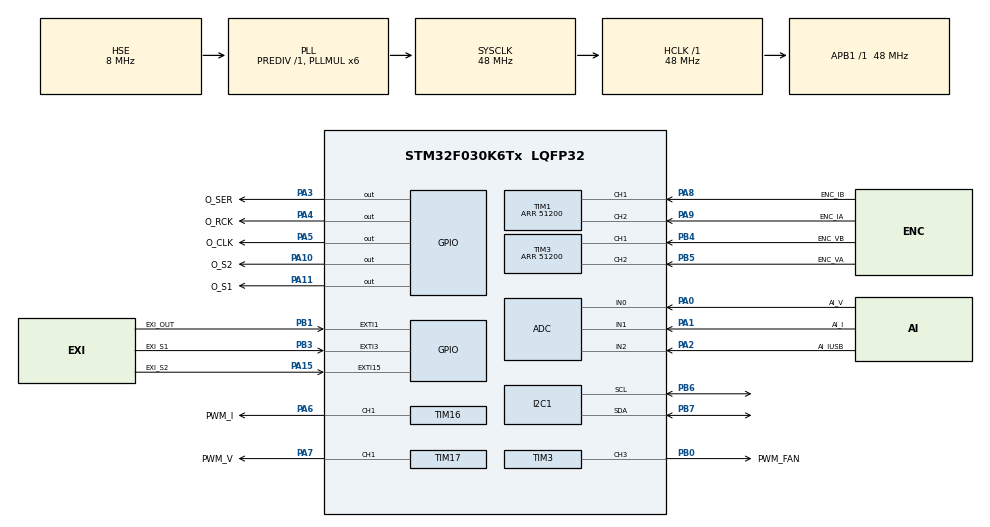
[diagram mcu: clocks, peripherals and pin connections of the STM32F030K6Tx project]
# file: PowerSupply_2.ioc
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ADC.ClockPrescaler=ADC_CLOCK_SYNC_PCLK_DIV4
ADC.ContinuousConvMode=ENABLE
ADC.DMAContinuousRequests=ENABLE
ADC.DiscontinuousConvMode=DISABLE
ADC.EOCSelection=ADC_EOC_SINGLE_CONV
ADC.LowPowerAutoWait=DISABLE
ADC.Overrun=ADC_OVR_DATA_OVERWRITTEN
ADC.SamplingTime=ADC_SAMPLETIME_71CYCLES_5
Dma.ADC.0.Direction=DMA_PERIPH_TO_MEMORY
Dma.ADC.0.Instance=DMA1_Channel1
Dma.ADC.0.MemDataAlignment=DMA_MDATAALIGN_WORD
Dma.ADC.0.MemInc=DMA_MINC_ENABLE
Dma.ADC.0.Mode=DMA_CIRCULAR
Dma.ADC.0.PeriphDataAlignment=DMA_PDATAALIGN_WORD
Dma.ADC.0.PeriphInc=DMA_PINC_DISABLE
Dma.ADC.0.Priority=DMA_PRIORITY_LOW
Dma.Request0=ADC
Mcu.Family=STM32F0
Mcu.Name=STM32F030K6Tx
Mcu.Package=LQFP32
NVIC.DMA1_Channel1_IRQn=true\:3\:0\:true\:false\:true\:false\:true\:true
NVIC.EXTI0_1_IRQn=true\:2\:0\:true\:false\:true\:true\:true\:true
NVIC.EXTI2_3_IRQn=true\:2\:0\:true\:false\:true\:true\:true\:true
NVIC.EXTI4_15_IRQn=true\:2\:0\:true\:false\:true\:true\:true\:true
NVIC.TIM14_IRQn=true\:2\:0\:true\:false\:true\:true\:true\:true
NVIC.TIM1_CC_IRQn=true\:2\:0\:true\:false\:true\:true\:true\:true
NVIC.TIM3_IRQn=true\:2\:0\:true\:false\:true\:true\:true\:true
PA0.GPIO_Label=AI_V
PA0.Mode=IN0
PA0.Signal=ADC_IN0
PA1.GPIO_Label=AI_I
PA1.Mode=IN1
PA1.Signal=ADC_IN1
PA10.GPIO_Label=O_S2
PA10.Signal=GPIO_Output
PA11.GPIO_Label=O_S1
PA11.Signal=GPIO_Output
PA13.Mode=Serial_Wire
PA13.Signal=SYS_SWDIO
PA14.Mode=Serial_Wire
PA14.Signal=SYS_SWCLK
PA15.GPIO_Label=EXI_S2
PA15.GPIO_ModeDefaultEXTI=GPIO_MODE_IT_FALLING
PA15.Signal=GPXTI15
PA2.GPIO_Label=AI_IUSB
PA2.Mode=IN2
PA2.Signal=ADC_IN2
PA3.GPIO_Label=O_SER
PA3.GPIO_Speed=GPIO_SPEED_FREQ_HIGH
PA3.Signal=GPIO_Output
PA4.GPIO_Label=O_RCK
PA4.Signal=GPIO_Output
PA5.GPIO_Label=O_CLK
PA5.GPIO_Speed=GPIO_SPEED_FREQ_HIGH
PA5.Signal=GPIO_Output
PA6.GPIO_Label=PWM_I
PA6.GPIO_Speed=GPIO_SPEED_FREQ_HIGH
PA6.Signal=S_TIM16_CH1
PA7.GPIO_Label=PWM_V
PA7.GPIO_Speed=GPIO_SPEED_FREQ_HIGH
PA7.Signal=S_TIM17_CH1
PA8.GPIO_Label=ENC_IB
PA8.GPIO_ModeDefaultPP=GPIO_MODE_AF_OD
PA8.GPIO_Speed=GPIO_SPEED_FREQ_HIGH
PA8.Signal=S_TIM1_CH1
PA9.GPIO_FMA9=SYSCFG_CFGR1_I2C_FMP_PA9
PA9.GPIO_Label=ENC_IA
PA9.GPIO_ModeDefaultPP=GPIO_MODE_AF_OD
PA9.GPIO_Speed=GPIO_SPEED_FREQ_HIGH
PA9.Signal=S_TIM1_CH2
PB0.GPIO_Label=PWM_FAN
PB0.GPIO_Speed=GPIO_SPEED_FREQ_HIGH
PB0.Signal=S_TIM3_CH3
PB1.GPIO_Label=EXI_OUT
PB1.GPIO_ModeDefaultEXTI=GPIO_MODE_IT_FALLING
PB1.Signal=GPXTI1
PB3.GPIO_Label=EXI_S1
PB3.GPIO_ModeDefaultEXTI=GPIO_MODE_IT_FALLING
PB3.Signal=GPXTI3
PB4.GPIO_Label=ENC_VB
PB4.GPIO_ModeDefaultPP=GPIO_MODE_AF_OD
PB4.GPIO_Speed=GPIO_SPEED_FREQ_HIGH
PB4.Signal=S_TIM3_CH1
PB5.GPIO_Label=ENC_VA
PB5.GPIO_ModeDefaultPP=GPIO_MODE_AF_OD
PB5.GPIO_Speed=GPIO_SPEED_FREQ_HIGH
PB5.Signal=S_TIM3_CH2
PB6.Mode=I2C
PB6.Signal=I2C1_SCL
PB7.Mode=I2C
PB7.Signal=I2C1_SDA
PF0-OSC_IN.Mode=HSE-External-Oscillator
PF0-OSC_IN.Signal=RCC_OSC_IN
PF1-OSC_OUT.Mode=HSE-External-Oscillator
PF1-OSC_OUT.Signal=RCC_OSC_OUT
ProjectManager.HeapSize=0x200
ProjectManager.StackSize=0x400
ProjectManager.TargetToolchain=EWARM V8.32
RCC.AHBFreq_Value=48000000
RCC.APB1Freq_Value=48000000
RCC.APB1TimFreq_Value=48000000
RCC.HCLKFreq_Value=48000000
RCC.PLLMUL=RCC_PLL_MUL6
RCC.PLLSourceVirtual=RCC_PLLSOURCE_HSE
RCC.SYSCLKFreq_VALUE=48000000
RCC.SYSCLKSource=RCC_SYSCLKSOURCE_PLLCLK
SH.S_TIM16_CH1.0=TIM16_CH1,PWM Generation1 CH1
SH.S_TIM17_CH1.0=TIM17_CH1,PWM Generation1 CH1
SH.S_TIM1_CH1.0=TIM1_CH1,Encoder_Interface
SH.S_TIM1_CH2.0=TIM1_CH2,Encoder_Interface
SH.S_TIM3_CH1.0=TIM3_CH1,Encoder_Interface
SH.S_TIM3_CH2.0=TIM3_CH2,Encoder_Interface
SH.S_TIM3_CH3.0=TIM3_CH3,PWM Generation3 CH3
TIM1.CounterMode=TIM_COUNTERMODE_UP
TIM1.EncoderMode=TIM_ENCODERMODE_TI12
TIM1.IC1Filter=10
TIM1.IC1Polarity=TIM_ICPOLARITY_RISING
TIM1.IC1Prescaler=TIM_ICPSC_DIV1
TIM1.IC2Polarity=TIM_ICPOLARITY_RISING
TIM1.IC2Prescaler=TIM_ICPSC_DIV1
TIM1.Period=51200
TIM14.Period=10000
TIM14.Prescaler=0
TIM16.Channel=TIM_CHANNEL_1
TIM16.Period=6400
TIM17.Channel=TIM_CHANNEL_1
TIM17.Period=6400
TIM3.Channel-PWM\ Generation3\ CH3=TIM_CHANNEL_3
TIM3.CounterMode=TIM_COUNTERMODE_UP
TIM3.EncoderMode=TIM_ENCODERMODE_TI12
TIM3.IC1Filter=10
TIM3.IC1Polarity=TIM_ICPOLARITY_RISING
TIM3.IC1Prescaler=TIM_ICPSC_DIV1
TIM3.IC2Polarity=TIM_ICPOLARITY_RISING
TIM3.IC2Prescaler=TIM_ICPSC_DIV1
TIM3.Period=51200
VP_TIM14_VS_ClockSourceINT.Mode=Enable_Timer
VP_TIM16_VS_ClockSourceINT.Mode=Enable_Timer
VP_TIM17_VS_ClockSourceINT.Mode=Enable_Timer
board=custom

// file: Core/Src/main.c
/* USER CODE BEGIN Header */
/**
  ******************************************************************************
  * @file           : main.c
  * @brief          : Main program body
  ******************************************************************************
  * @attention
  *
  * Copyright (c) 2022 STMicroelectronics.
  * All rights reserved.
  *
  * This software is licensed under terms that can be found in the LICENSE file
  * in the root directory of this software component.
  * If no LICENSE file comes with this software, it is provided AS-IS.
  *
  ******************************************************************************
  */
/* USER CODE END Header */
#include "main.h"

/* USER CODE BEGIN Includes */
#include <stdio.h>
#include <stdlib.h>

#include "PID.h"
/* USER CODE END Includes */

ADC_HandleTypeDef hadc;
DMA_HandleTypeDef hdma_adc;

I2C_HandleTypeDef hi2c1;

TIM_HandleTypeDef htim1;
TIM_HandleTypeDef htim3;
TIM_HandleTypeDef htim14;
TIM_HandleTypeDef htim16;
TIM_HandleTypeDef htim17;

/* USER CODE BEGIN PV */
uint32_t AData[3];
uint16_t iLED = 0;
uint8_t LED_Data [LED_Num] = {0};
uint8_t iSelEXI = 0;
uint8_t EXIS1PrePrs [9] = {0};
uint8_t EXIS2PrePrs [9] = {0};
uint8_t EXIS1PrvPrs [4] = {0};
uint8_t EXIS2PrvPrs [4] = {0};
uint16_t iEXIS1Prs [5] = {0,0,0,0};
uint16_t iPrsEXIS2 [5] = {0,0,0,0};
//uint16_t iKepEXI = 1000;
//uint16_t iClkEXI = 100;

uint16_t indx = 0;

uint16_t Disp3s = 30;

//uint16_t MaxSamEncTime = 30;

uint8_t LowByte = 0;
uint8_t HighByte = 0;
uint8_t dL = 0;
uint8_t dH = 0;
uint8_t cL = 0;
uint8_t cH = 0;

//uint16_t Knew = 0;
//uint16_t Kold = 0;
uint16_t VoltBstKnew = 30;
uint16_t VoltBstKold = 70;
uint16_t CurrBstKnew = 30;
uint16_t CurrBstKold = 70;

uint16_t MaxFIR = 200;
uint16_t iMaxFIR = 0;

uint8_t PIDEn = 0;
//float error = 0;
uint16_t MaxCountPID = 5000;
uint8_t InitFlag = 0;
uint8_t FirsRead = 0;
uint16_t InitCount = 0;
uint16_t MaxInitCount = 3000;
uint16_t TempVolt = 0;
//int32_t MAXSumError = 50000000;

uint16_t ErrStp1 = 5000;
float Kp1 = 0.1;
float Ki1 = 0.4;
float Kd1 = 0.01;
float Tau1 = 0.01;

float Kp2 = .1;
float Ki2 = .4;
float Kd2 = 6;
float Tau2 = 6;

uint16_t CurrErrStp1 = 500;
uint16_t CurrErrStp2 = 4000;
float CurrKp1 = 0.05;
float CurrKi1 = 0.3;
float CurrKd1 = 0.1;
float CurrTau1 = 0.01;

float CurrKp2 = .2;
float CurrKi2 = 1;
float CurrKd2 = 2;
float CurrTau2 = 3;

uint8_t VOLT2ENC = 12;

int16_t MaxEncSpeed = 20;
int16_t MaxEncInc = 1200;
//int16_t MinEncSpeed = 4;

uint32_t ArrNumFIFO = 0;
uint32_t MaxArrNumFIFO = 300;

uint16_t AFIFO [3][300] = {0};
//uint16_t ArrNumMeanFIFO = 1000;
//uint16_t MeanFIFO [3][100] = {0};
uint32_t SumFIFO [3] = {0,0,0};                       // Array sum of ADC values
uint32_t iFilADC = 0;

#if (IF_VOLTTest | IF_CURRTest)
uint16_t iTriInd = 0;
uint16_t ITriIndMax = 1;
int16_t iTriangle = 0;
uint16_t iTriMax = 6400;
uint16_t Ramp = 1;
uint16_t TriVolStep = 4;
#endif

#if IF_VOLTPIDTunning
uint16_t VOLTENCSTP1 = 8000;
uint16_t VOLTENCSTP2 = 40000;
uint16_t MaxiPIDSwitch = 2000;
#endif

#if IF_CURRPIDTunning
uint16_t CURRENCSTP1 = 4000;
uint16_t CURRENCSTP2 = 8000;
uint16_t MaxiPIDSwitch = 2000;
#endif

enum
{
  Nor,
  OC,
  NoMem,
  M1,
  M2,
  M3,
  M4
};

//PIDController pid;

Monitor Volt, Curr;
MonitorUSB USBCurr;
/* USER CODE END PV */

void SystemClock_Config(void);
static void MX_GPIO_Init(void);
static void MX_DMA_Init(void);
static void MX_ADC_Init(void);
static void MX_TIM1_Init(void);
static void MX_TIM3_Init(void);
static void MX_TIM16_Init(void);
static void MX_I2C1_Init(void);
static void MX_TIM14_Init(void);
static void MX_TIM17_Init(void);
/* USER CODE BEGIN PFP */
uint16_t* SevSegm (uint8_t Num);
void Mon4Seg (uint16_t volt, uint8_t Loc);
void Delay (void);
/* USER CODE END PFP */

int main(void)
{

  /* MCU Configuration--------------------------------------------------------*/

  /* Reset of all peripherals, Initializes the Flash interface and the Systick. */
  HAL_Init();

  /* Configure the system clock */
  SystemClock_Config();

  /* Initialize all configured peripherals */
  MX_GPIO_Init();
  MX_DMA_Init();
  MX_ADC_Init();
  MX_TIM1_Init();
  MX_TIM3_Init();
  MX_TIM16_Init();
  MX_I2C1_Init();
  MX_TIM14_Init();
  MX_TIM17_Init();
  /* USER CODE BEGIN 2 */
//  Knew = BstKnew;
//  Kold = BstKnew;
#if IF_CURRTest
uint16_t iTriMax = HTIM_PWM_CURR.Init.Period;
#endif

#if IF_VOLTTest
uint16_t iTriMax = HTIM_PWM_VOL.Init.Period;
#endif

  Volt.pid.Kp = 0.1;
  Volt.pid.Ki = 0.2;
  Volt.pid.Kd = 0.2;
  Volt.pid.tau = 0.01;
  Volt.pid.limMax = HTIM_PWM_VOL.Init.Period;
  Volt.pid.limMin = 0;
  Volt.pid.limMaxInt = 50000;
  Volt.pid.limMinInt = -50000;
  Volt.pid.T = 0.000225;

  Curr.pid.Kp = 0.1;
  Curr.pid.Ki = 0.2;
  Curr.pid.Kd = 0.2;
  Curr.pid.tau = 0.01;
  Curr.pid.limMax = HTIM_PWM_CURR.Init.Period;
  Curr.pid.limMin = 0;
  Curr.pid.limMaxInt = 50000;
  Curr.pid.limMinInt = -50000;
  Curr.pid.T = 0.000225;

  Volt.MaxVolt = VoltMAX;
  Curr.MaxVolt = CurrMAX;
  Volt.EncFactor = HTIM_ENC_VOL.Init.Period / HTIM_PWM_VOL.Init.Period;
  Curr.EncFactor = HTIM_ENC_CURR.Init.Period / HTIM_PWM_CURR.Init.Period;
  Volt.KDspnew = 30;
  Volt.KDspold = 70;
  Curr.KDspnew = 30;
  Curr.KDspold = 70;
  Volt.DispFactor0 = - 15.69;
  Volt.DispFactor1 = 0.8464;
  Curr.DispFactor0 = -331.9;
  Curr.DispFactor1 = 1.38;
  USBCurr.DispFactor1 = 1;
  Curr.Enc = 4000;
  __HAL_TIM_SET_COMPARE(&HTIM_PWM_CURR, TIM_CHANNEL_1, Curr.Enc / Curr.EncFactor);

  HAL_TIM_Encoder_Start_IT(&HTIM_ENC_CURR, TIM_CHANNEL_ALL);    // Encoder Current PWM
  HAL_TIM_Encoder_Start_IT(&HTIM_ENC_VOL, TIM_CHANNEL_ALL);    // Encoder Voltage PWM

//  HAL_TIM_PWM_Start(&HTIM_ENC_VOL, TIM_CHANNEL_3);     // Fan PWM
  HAL_TIM_PWM_Start(&HTIM_PWM_CURR, TIM_CHANNEL_1);    // Current PWM
  HAL_TIM_PWM_Start(&HTIM_PWM_VOL, TIM_CHANNEL_1);    // Voltage PWM

  HAL_TIM_Base_Start_IT(&htim14);

  HAL_ADCEx_Calibration_Start(&hadc);
  HAL_ADC_Start_DMA(&hadc, (uint32_t*)AData, 3);

  PIDController_Init(&Volt.pid);

  /* USER CODE END 2 */

  /* Infinite loop */
  while (1)
  {

  }
}

void SystemClock_Config(void)
{
  RCC_OscInitTypeDef RCC_OscInitStruct = {0};
  RCC_ClkInitTypeDef RCC_ClkInitStruct = {0};
  RCC_PeriphCLKInitTypeDef PeriphClkInit = {0};

  /** Initializes the RCC Oscillators according to the specified parameters
  * in the RCC_OscInitTypeDef structure.
  */
  RCC_OscInitStruct.OscillatorType = RCC_OSCILLATORTYPE_HSI|RCC_OSCILLATORTYPE_HSE;
  RCC_OscInitStruct.HSEState = RCC_HSE_ON;
  RCC_OscInitStruct.HSIState = RCC_HSI_ON;
  RCC_OscInitStruct.HSICalibrationValue = RCC_HSICALIBRATION_DEFAULT;
  RCC_OscInitStruct.PLL.PLLState = RCC_PLL_ON;
  RCC_OscInitStruct.PLL.PLLSource = RCC_PLLSOURCE_HSE;
  RCC_OscInitStruct.PLL.PLLMUL = RCC_PLL_MUL6;
  RCC_OscInitStruct.PLL.PREDIV = RCC_PREDIV_DIV1;
  if (HAL_RCC_OscConfig(&RCC_OscInitStruct) != HAL_OK)
  {
    Error_Handler();
  }

  /** Initializes the CPU, AHB and APB buses clocks
  */
  RCC_ClkInitStruct.ClockType = RCC_CLOCKTYPE_HCLK|RCC_CLOCKTYPE_SYSCLK
                              |RCC_CLOCKTYPE_PCLK1;
  RCC_ClkInitStruct.SYSCLKSource = RCC_SYSCLKSOURCE_PLLCLK;
  RCC_ClkInitStruct.AHBCLKDivider = RCC_SYSCLK_DIV1;
  RCC_ClkInitStruct.APB1CLKDivider = RCC_HCLK_DIV1;

  if (HAL_RCC_ClockConfig(&RCC_ClkInitStruct, FLASH_LATENCY_1) != HAL_OK)
  {
    Error_Handler();
  }
  PeriphClkInit.PeriphClockSelection = RCC_PERIPHCLK_I2C1;
  PeriphClkInit.I2c1ClockSelection = RCC_I2C1CLKSOURCE_HSI;
  if (HAL_RCCEx_PeriphCLKConfig(&PeriphClkInit) != HAL_OK)
  {
    Error_Handler();
  }
}

static void MX_ADC_Init(void)
{

  ADC_ChannelConfTypeDef sConfig = {0};

  /** Configure the global features of the ADC (Clock, Resolution, Data Alignment and number of conversion)
  */
  hadc.Instance = ADC1;
  hadc.Init.ClockPrescaler = ADC_CLOCK_SYNC_PCLK_DIV4;
  hadc.Init.Resolution = ADC_RESOLUTION_12B;
  hadc.Init.DataAlign = ADC_DATAALIGN_RIGHT;
  hadc.Init.ScanConvMode = ADC_SCAN_DIRECTION_FORWARD;
  hadc.Init.EOCSelection = ADC_EOC_SINGLE_CONV;
  hadc.Init.LowPowerAutoWait = DISABLE;
  hadc.Init.LowPowerAutoPowerOff = DISABLE;
  hadc.Init.ContinuousConvMode = ENABLE;
  hadc.Init.DiscontinuousConvMode = DISABLE;
  hadc.Init.ExternalTrigConv = ADC_SOFTWARE_START;
  hadc.Init.ExternalTrigConvEdge = ADC_EXTERNALTRIGCONVEDGE_NONE;
  hadc.Init.DMAContinuousRequests = ENABLE;
  hadc.Init.Overrun = ADC_OVR_DATA_OVERWRITTEN;
  if (HAL_ADC_Init(&hadc) != HAL_OK)
  {
    Error_Handler();
  }

  /** Configure for the selected ADC regular channel to be converted.
  */
  sConfig.Channel = ADC_CHANNEL_0;
  sConfig.Rank = ADC_RANK_CHANNEL_NUMBER;
  sConfig.SamplingTime = ADC_SAMPLETIME_71CYCLES_5;
  if (HAL_ADC_ConfigChannel(&hadc, &sConfig) != HAL_OK)
  {
    Error_Handler();
  }

  /** Configure for the selected ADC regular channel to be converted.
  */
  sConfig.Channel = ADC_CHANNEL_1;
  if (HAL_ADC_ConfigChannel(&hadc, &sConfig) != HAL_OK)
  {
    Error_Handler();
  }

  /** Configure for the selected ADC regular channel to be converted.
  */
  sConfig.Channel = ADC_CHANNEL_2;
  if (HAL_ADC_ConfigChannel(&hadc, &sConfig) != HAL_OK)
  {
    Error_Handler();
  }

}

static void MX_I2C1_Init(void)
{

  hi2c1.Instance = I2C1;
  hi2c1.Init.Timing = 0x2000090E;
  hi2c1.Init.OwnAddress1 = 0;
  hi2c1.Init.AddressingMode = I2C_ADDRESSINGMODE_7BIT;
  hi2c1.Init.DualAddressMode = I2C_DUALADDRESS_DISABLE;
  hi2c1.Init.OwnAddress2 = 0;
  hi2c1.Init.OwnAddress2Masks = I2C_OA2_NOMASK;
  hi2c1.Init.GeneralCallMode = I2C_GENERALCALL_DISABLE;
  hi2c1.Init.NoStretchMode = I2C_NOSTRETCH_DISABLE;
  if (HAL_I2C_Init(&hi2c1) != HAL_OK)
  {
    Error_Handler();
  }

  /** Configure Analogue filter
  */
  if (HAL_I2CEx_ConfigAnalogFilter(&hi2c1, I2C_ANALOGFILTER_ENABLE) != HAL_OK)
  {
    Error_Handler();
  }

  /** Configure Digital filter
  */
  if (HAL_I2CEx_ConfigDigitalFilter(&hi2c1, 0) != HAL_OK)
  {
    Error_Handler();
  }

}

static void MX_TIM1_Init(void)
{

  TIM_Encoder_InitTypeDef sConfig = {0};
  TIM_MasterConfigTypeDef sMasterConfig = {0};

  htim1.Instance = TIM1;
  htim1.Init.Prescaler = 0;
  htim1.Init.CounterMode = TIM_COUNTERMODE_UP;
  htim1.Init.Period = 51200;
  htim1.Init.ClockDivision = TIM_CLOCKDIVISION_DIV1;
  htim1.Init.RepetitionCounter = 0;
  htim1.Init.AutoReloadPreload = TIM_AUTORELOAD_PRELOAD_DISABLE;
  sConfig.EncoderMode = TIM_ENCODERMODE_TI12;
  sConfig.IC1Polarity = TIM_ICPOLARITY_RISING;
  sConfig.IC1Selection = TIM_ICSELECTION_DIRECTTI;
  sConfig.IC1Prescaler = TIM_ICPSC_DIV1;
  sConfig.IC1Filter = 10;
  sConfig.IC2Polarity = TIM_ICPOLARITY_RISING;
  sConfig.IC2Selection = TIM_ICSELECTION_DIRECTTI;
  sConfig.IC2Prescaler = TIM_ICPSC_DIV1;
  sConfig.IC2Filter = 0;
  if (HAL_TIM_Encoder_Init(&htim1, &sConfig) != HAL_OK)
  {
    Error_Handler();
  }
  sMasterConfig.MasterOutputTrigger = TIM_TRGO_RESET;
  sMasterConfig.MasterSlaveMode = TIM_MASTERSLAVEMODE_DISABLE;
  if (HAL_TIMEx_MasterConfigSynchronization(&htim1, &sMasterConfig) != HAL_OK)
  {
    Error_Handler();
  }

}

static void MX_TIM3_Init(void)
{

  TIM_Encoder_InitTypeDef sConfig = {0};
  TIM_MasterConfigTypeDef sMasterConfig = {0};
  TIM_OC_InitTypeDef sConfigOC = {0};

  htim3.Instance = TIM3;
  htim3.Init.Prescaler = 0;
  htim3.Init.CounterMode = TIM_COUNTERMODE_UP;
  htim3.Init.Period = 51200;
  htim3.Init.ClockDivision = TIM_CLOCKDIVISION_DIV1;
  htim3.Init.AutoReloadPreload = TIM_AUTORELOAD_PRELOAD_DISABLE;
  if (HAL_TIM_PWM_Init(&htim3) != HAL_OK)
  {
    Error_Handler();
  }
  sConfig.EncoderMode = TIM_ENCODERMODE_TI12;
  sConfig.IC1Polarity = TIM_ICPOLARITY_RISING;
  sConfig.IC1Selection = TIM_ICSELECTION_DIRECTTI;
  sConfig.IC1Prescaler = TIM_ICPSC_DIV1;
  sConfig.IC1Filter = 10;
  sConfig.IC2Polarity = TIM_ICPOLARITY_RISING;
  sConfig.IC2Selection = TIM_ICSELECTION_DIRECTTI;
  sConfig.IC2Prescaler = TIM_ICPSC_DIV1;
  sConfig.IC2Filter = 0;
  if (HAL_TIM_Encoder_Init(&htim3, &sConfig) != HAL_OK)
  {
    Error_Handler();
  }
  sMasterConfig.MasterOutputTrigger = TIM_TRGO_RESET;
  sMasterConfig.MasterSlaveMode = TIM_MASTERSLAVEMODE_DISABLE;
  if (HAL_TIMEx_MasterConfigSynchronization(&htim3, &sMasterConfig) != HAL_OK)
  {
    Error_Handler();
  }
  sConfigOC.OCMode = TIM_OCMODE_PWM1;
  sConfigOC.Pulse = 0;
  sConfigOC.OCPolarity = TIM_OCPOLARITY_HIGH;
  sConfigOC.OCFastMode = TIM_OCFAST_DISABLE;
  if (HAL_TIM_PWM_ConfigChannel(&htim3, &sConfigOC, TIM_CHANNEL_3) != HAL_OK)
  {
    Error_Handler();
  }
  HAL_TIM_MspPostInit(&htim3);

}

static void MX_TIM14_Init(void)
{

  htim14.Instance = TIM14;
  htim14.Init.Prescaler = 0;
  htim14.Init.CounterMode = TIM_COUNTERMODE_UP;
  htim14.Init.Period = 10000;
  htim14.Init.ClockDivision = TIM_CLOCKDIVISION_DIV1;
  htim14.Init.AutoReloadPreload = TIM_AUTORELOAD_PRELOAD_DISABLE;
  if (HAL_TIM_Base_Init(&htim14) != HAL_OK)
  {
    Error_Handler();
  }

}

static void MX_TIM16_Init(void)
{

  TIM_OC_InitTypeDef sConfigOC = {0};
  TIM_BreakDeadTimeConfigTypeDef sBreakDeadTimeConfig = {0};

  htim16.Instance = TIM16;
  htim16.Init.Prescaler = 0;
  htim16.Init.CounterMode = TIM_COUNTERMODE_UP;
  htim16.Init.Period = 6400;
  htim16.Init.ClockDivision = TIM_CLOCKDIVISION_DIV1;
  htim16.Init.RepetitionCounter = 0;
  htim16.Init.AutoReloadPreload = TIM_AUTORELOAD_PRELOAD_DISABLE;
  if (HAL_TIM_Base_Init(&htim16) != HAL_OK)
  {
    Error_Handler();
  }
  if (HAL_TIM_PWM_Init(&htim16) != HAL_OK)
  {
    Error_Handler();
  }
  sConfigOC.OCMode = TIM_OCMODE_PWM1;
  sConfigOC.Pulse = 0;
  sConfigOC.OCPolarity = TIM_OCPOLARITY_HIGH;
  sConfigOC.OCNPolarity = TIM_OCNPOLARITY_HIGH;
  sConfigOC.OCFastMode = TIM_OCFAST_DISABLE;
  sConfigOC.OCIdleState = TIM_OCIDLESTATE_RESET;
  sConfigOC.OCNIdleState = TIM_OCNIDLESTATE_RESET;
  if (HAL_TIM_PWM_ConfigChannel(&htim16, &sConfigOC, TIM_CHANNEL_1) != HAL_OK)
  {
    Error_Handler();
  }
  sBreakDeadTimeConfig.OffStateRunMode = TIM_OSSR_DISABLE;
  sBreakDeadTimeConfig.OffStateIDLEMode = TIM_OSSI_DISABLE;
  sBreakDeadTimeConfig.LockLevel = TIM_LOCKLEVEL_OFF;
  sBreakDeadTimeConfig.DeadTime = 0;
  sBreakDeadTimeConfig.BreakState = TIM_BREAK_DISABLE;
  sBreakDeadTimeConfig.BreakPolarity = TIM_BREAKPOLARITY_HIGH;
  sBreakDeadTimeConfig.AutomaticOutput = TIM_AUTOMATICOUTPUT_DISABLE;
  if (HAL_TIMEx_ConfigBreakDeadTime(&htim16, &sBreakDeadTimeConfig) != HAL_OK)
  {
    Error_Handler();
  }
  HAL_TIM_MspPostInit(&htim16);

}

static void MX_TIM17_Init(void)
{

  TIM_OC_InitTypeDef sConfigOC = {0};
  TIM_BreakDeadTimeConfigTypeDef sBreakDeadTimeConfig = {0};

  htim17.Instance = TIM17;
  htim17.Init.Prescaler = 0;
  htim17.Init.CounterMode = TIM_COUNTERMODE_UP;
  htim17.Init.Period = 6400;
  htim17.Init.ClockDivision = TIM_CLOCKDIVISION_DIV1;
  htim17.Init.RepetitionCounter = 0;
  htim17.Init.AutoReloadPreload = TIM_AUTORELOAD_PRELOAD_DISABLE;
  if (HAL_TIM_Base_Init(&htim17) != HAL_OK)
  {
    Error_Handler();
  }
  if (HAL_TIM_PWM_Init(&htim17) != HAL_OK)
  {
    Error_Handler();
  }
  sConfigOC.OCMode = TIM_OCMODE_PWM1;
  sConfigOC.Pulse = 0;
  sConfigOC.OCPolarity = TIM_OCPOLARITY_HIGH;
  sConfigOC.OCNPolarity = TIM_OCNPOLARITY_HIGH;
  sConfigOC.OCFastMode = TIM_OCFAST_DISABLE;
  sConfigOC.OCIdleState = TIM_OCIDLESTATE_RESET;
  sConfigOC.OCNIdleState = TIM_OCNIDLESTATE_RESET;
  if (HAL_TIM_PWM_ConfigChannel(&htim17, &sConfigOC, TIM_CHANNEL_1) != HAL_OK)
  {
    Error_Handler();
  }
  sBreakDeadTimeConfig.OffStateRunMode = TIM_OSSR_DISABLE;
  sBreakDeadTimeConfig.OffStateIDLEMode = TIM_OSSI_DISABLE;
  sBreakDeadTimeConfig.LockLevel = TIM_LOCKLEVEL_OFF;
  sBreakDeadTimeConfig.DeadTime = 0;
  sBreakDeadTimeConfig.BreakState = TIM_BREAK_DISABLE;
  sBreakDeadTimeConfig.BreakPolarity = TIM_BREAKPOLARITY_HIGH;
  sBreakDeadTimeConfig.AutomaticOutput = TIM_AUTOMATICOUTPUT_DISABLE;
  if (HAL_TIMEx_ConfigBreakDeadTime(&htim17, &sBreakDeadTimeConfig) != HAL_OK)
  {
    Error_Handler();
  }
  HAL_TIM_MspPostInit(&htim17);

}

static void MX_DMA_Init(void)
{

  /* DMA controller clock enable */
  __HAL_RCC_DMA1_CLK_ENABLE();

  /* DMA interrupt init */
  /* DMA1_Channel1_IRQn interrupt configuration */
  HAL_NVIC_SetPriority(DMA1_Channel1_IRQn, 3, 0);
  HAL_NVIC_EnableIRQ(DMA1_Channel1_IRQn);

}

static void MX_GPIO_Init(void)
{
  GPIO_InitTypeDef GPIO_InitStruct = {0};

  /* GPIO Ports Clock Enable */
  __HAL_RCC_GPIOF_CLK_ENABLE();
  __HAL_RCC_GPIOA_CLK_ENABLE();
  __HAL_RCC_GPIOB_CLK_ENABLE();

  /*Configure GPIO pin Output Level */
  HAL_GPIO_WritePin(GPIOA, O_SER_Pin|O_RCK_Pin|O_CLK_Pin|O_S2_Pin
                          |O_S1_Pin, GPIO_PIN_RESET);

  /*Configure GPIO pins : O_SER_Pin O_CLK_Pin */
  GPIO_InitStruct.Pin = O_SER_Pin|O_CLK_Pin;
  GPIO_InitStruct.Mode = GPIO_MODE_OUTPUT_PP;
  GPIO_InitStruct.Pull = GPIO_NOPULL;
  GPIO_InitStruct.Speed = GPIO_SPEED_FREQ_HIGH;
  HAL_GPIO_Init(GPIOA, &GPIO_InitStruct);

  /*Configure GPIO pins : O_RCK_Pin O_S2_Pin O_S1_Pin */
  GPIO_InitStruct.Pin = O_RCK_Pin|O_S2_Pin|O_S1_Pin;
  GPIO_InitStruct.Mode = GPIO_MODE_OUTPUT_PP;
  GPIO_InitStruct.Pull = GPIO_NOPULL;
  GPIO_InitStruct.Speed = GPIO_SPEED_FREQ_LOW;
  HAL_GPIO_Init(GPIOA, &GPIO_InitStruct);

  /*Configure GPIO pins : EXI_OUT_Pin EXI_S1_Pin */
  GPIO_InitStruct.Pin = EXI_OUT_Pin|EXI_S1_Pin;
  GPIO_InitStruct.Mode = GPIO_MODE_IT_FALLING;
  GPIO_InitStruct.Pull = GPIO_NOPULL;
  HAL_GPIO_Init(GPIOB, &GPIO_InitStruct);

  /*Configure GPIO pin : EXI_S2_Pin */
  GPIO_InitStruct.Pin = EXI_S2_Pin;
  GPIO_InitStruct.Mode = GPIO_MODE_IT_FALLING;
  GPIO_InitStruct.Pull = GPIO_NOPULL;
  HAL_GPIO_Init(EXI_S2_GPIO_Port, &GPIO_InitStruct);

  /* EXTI interrupt init*/
  HAL_NVIC_SetPriority(EXTI0_1_IRQn, 2, 0);
  HAL_NVIC_EnableIRQ(EXTI0_1_IRQn);

  HAL_NVIC_SetPriority(EXTI2_3_IRQn, 2, 0);
  HAL_NVIC_EnableIRQ(EXTI2_3_IRQn);

  HAL_NVIC_SetPriority(EXTI4_15_IRQn, 2, 0);
  HAL_NVIC_EnableIRQ(EXTI4_15_IRQn);

}

/* USER CODE BEGIN 4 */

/**
  * @brief Delay
  * @param void
  * @retval void
  */
void Delay (void)
{
  for (uint16_t iDelay = 0; iDelay <= 10000; iDelay ++)
  {}
}

/**
  * @brief Get Number in input and convert it into 8 buffer to Display in 7segment.
  * @param Num  Number from 0 to 9.
  * @retval 8 buffer.
  */
uint16_t* SevSegm (uint8_t Num)
{
  static uint16_t Buf [8];
  switch (Num)
  {
  case 0:                       // Number '0'
          Buf [0] = 0;
          Buf [1] = 1;
          Buf [2] = 1;
          Buf [3] = 1;
          Buf [4] = 1;
          Buf [5] = 1;
          Buf [6] = 1;
          Buf [7] = 0;
          break;
  case 1:                       // Number '1'
          Buf [0] = 0;
          Buf [1] = 0;
          Buf [2] = 0;
          Buf [3] = 0;
          Buf [4] = 0;
          Buf [5] = 1;
          Buf [6] = 1;
          Buf [7] = 0;
          break;
  case 2:                       // Number '2'
          Buf [0] = 1;
          Buf [1] = 1;
          Buf [2] = 0;
          Buf [3] = 1;
          Buf [4] = 1;
          Buf [5] = 0;
          Buf [6] = 1;
          Buf [7] = 0;
          break;
  case 3:                       // Number '3'
          Buf [0] = 1;
          Buf [1] = 0;
          Buf [2] = 0;
          Buf [3] = 1;
          Buf [4] = 1;
          Buf [5] = 1;
          Buf [6] = 1;
          Buf [7] = 0;
          break;
  case 4:                       // Number '4'
          Buf [0] = 1;
          Buf [1] = 0;
          Buf [2] = 1;
          Buf [3] = 0;
          Buf [4] = 0;
          Buf [5] = 1;
          Buf [6] = 1;
          Buf [7] = 0;
          break;
  case 5:                       // Number '5'
          Buf [0] = 1;
          Buf [1] = 0;
          Buf [2] = 1;
          Buf [3] = 1;
          Buf [4] = 1;
          Buf [5] = 1;
          Buf [6] = 0;
          Buf [7] = 0;
          break;
  case 6:                       // Number '6'
          Buf [0] = 1;
          Buf [1] = 1;
          Buf [2] = 1;
          Buf [3] = 1;
          Buf [4] = 1;
          Buf [5] = 1;
          Buf [6] = 0;
          Buf [7] = 0;
          break;
  case 7:                       // Number '7'
          Buf [0] = 0;
          Buf [1] = 0;
          Buf [2] = 0;
          Buf [3] = 0;
          Buf [4] = 1;
          Buf [5] = 1;
          Buf [6] = 1;
          Buf [7] = 0;
          break;
  case 8:                       // Number '8'
          Buf [0] = 1;
          Buf [1] = 1;
          Buf [2] = 1;
          Buf [3] = 1;
          Buf [4] = 1;
          Buf [5] = 1;
          Buf [6] = 1;
          Buf [7] = 0;
          break;
  case 9:                       // Number '9'
          Buf [0] = 1;
          Buf [1] = 0;
          Buf [2] = 1;
          Buf [3] = 1;
          Buf [4] = 1;
          Buf [5] = 1;
          Buf [6] = 1;
          Buf [7] = 0;
          break;
  }
  return Buf;
}

/**
  * @brief Get Number in input and locate it into LED_Data array.
  * @param volt  Number from 0 to 9999 that in display devide in 100.
  * @param Loc  Location in LED_Data to put volt array
  * @retval None.
  */
void Mon4Seg (uint16_t volt, uint8_t Loc)
{
  uint8_t Integer = volt / 100;         // Quotient of divide in 100
  if ((Integer <= 9) & (Loc == VolLoc))                     // Locate Quotient in LED_Data and remove zero before one digit numbers
  {
    uint16_t *pBuf = SevSegm (Integer);
    for (uint8_t iInteger = 0; iInteger < 8; iInteger ++)
    {
      LED_Data [Loc + iInteger] = 0;
      LED_Data [Loc + 8 + iInteger] = *(pBuf + iInteger);
    }
  }
  else                                  // Locate Quotient in LED_Data
  {
    uint16_t * pBuf1 = SevSegm(Integer / 10);
    for (uint8_t iInteger = 0; iInteger < 8; iInteger ++)
    {
      LED_Data [Loc + iInteger] = *(pBuf1 + iInteger);
    }
    uint16_t * pBuf2 = SevSegm(Integer % 10);
    for (uint8_t iInteger = 0; iInteger < 8; iInteger ++)
    {
      LED_Data [Loc + 8 + iInteger] = *(pBuf2 + iInteger);
    }
  }

//  LED_Data [Loc + 15] = 1;              // Point
  uint8_t Frac = volt % 100;            // Remainder of divide in 100

  uint16_t * pBuf1 = SevSegm(Frac / 10);
  for (uint8_t iFrac = 0; iFrac < 8; iFrac ++)
  {
    LED_Data [Loc + 16 + iFrac] = *(pBuf1 + iFrac);
  }
  uint16_t * pBuf2 = SevSegm(Frac % 10);
  for (uint8_t iFrac = 0; iFrac < 8; iFrac ++)
  {
    LED_Data [Loc + 24 + iFrac] = *(pBuf2 + iFrac);
  }
}

/**
  * @brief Get Number in input and locate it into LED_Data array.
  * @param volt  Number from 0 to 99 that in display devide in 10.
  * @retval None.
  */
void Mon2Seg (uint16_t volt)
{
  for (uint8_t i = 0; i <= 1; i ++)
  {
    uint16_t *pBuf = SevSegm (volt / 10);
    for (uint8_t i2disp = 0; i2disp < 8; i2disp ++)     // Locate Remainder in LED_Data
    {
      LED_Data [64 + i2disp] = *(pBuf + i2disp);
    }
    LED_Data [71] = 1;
    uint16_t *pBuf2 = SevSegm (volt % 10);                   // Locate Quotient in LED_Data
    for (uint8_t i2disp = 0; i2disp < 8; i2disp ++)
    {
      LED_Data [72 + i2disp] = *(pBuf2 + i2disp);
    }
  }
}

/**
  * @brief  Period elapsed half complete callback in non-blocking mode
  *         containing External Interrupt and display handling.
  * @param  htim TIM handle
  * @retval None
  */
void HAL_TIM_PeriodElapsedCallback(TIM_HandleTypeDef *htim)
{
	if (htim == &htim14)
	{
          HAL_TIM_Base_Stop(htim);                      // Stop timing

          Curr.TempDisp = (Curr.DispFactor1 * Curr.Volt + Curr.DispFactor0);

#if (!IF_CURRTest & !IF_VOLTTest)
          if (InitFlag == 0)            // Zero offset
          {
            if (InitCount < MaxInitCount)
            {
              InitCount ++;
            }
            else
            {
              if (FirsRead == 0)
              {
                TempVolt = Volt.Volt;
                FirsRead = 1;
              }
              if (Volt.Volt < 1.005 * TempVolt)
              {
                Volt.PWM ++;
                __HAL_TIM_SET_COMPARE(&HTIM_PWM_VOL,TIM_CHANNEL_1, Volt.PWM);
              }
              else
                InitFlag = 1;
        //              Volt.MinVolt =
            }
          }
          else
          {
//            if ((Curr.pid.error < CurrErrStp1) & (Curr.pid.error > -CurrErrStp1))
//            {
//              Curr.pid.Kp = CurrKp1;
//              Curr.pid.Ki = CurrKi1;
//              Curr.pid.Kd = CurrKd1;
//              Curr.pid.tau = CurrTau1;
//            }
//            else if ((Curr.pid.error < -CurrErrStp2) | (Curr.pid.error > CurrErrStp2))
//            {
//              Curr.pid.Kp = CurrKp2;
//              Curr.pid.Ki = CurrKi2;
//              Curr.pid.Kd = CurrKd2;
//              Curr.pid.tau = CurrTau2;
//            }
//            Curr.PWM = PIDController_Update(&Curr.pid, Curr.Enc , VOLT2ENC * Curr.Volt);
//            __HAL_TIM_SET_COMPARE(&HTIM_PWM_CURR,TIM_CHANNEL_1, Curr.PWM);

            if ((Volt.pid.error < ErrStp1) & (Volt.pid.error > -ErrStp1))
            {
              Volt.pid.Kp = Kp1;
              Volt.pid.Ki = Ki1;
              Volt.pid.Kd = Kd1;
              Volt.pid.tau = Tau1;
            }
            else
            {
              Volt.pid.Kp = Kp2;
              Volt.pid.Ki = Ki2;
              Volt.pid.Kd = Kd2;
              Volt.pid.tau = Tau2;
            }
            Volt.PWM = PIDController_Update(&Volt.pid, Volt.Enc, VOLT2ENC * Volt.Volt);
            __HAL_TIM_SET_COMPARE(&HTIM_PWM_VOL,TIM_CHANNEL_1, Volt.PWM);
          }
#endif
/*
 *
 *      Extrnal Interrupt
 *
 */

/*    S1
 *    start
 */
          if(EXIS1PrePrs [iSelEXI + 4] == 1)                // when S1 pin pressed (in iSelEXI status )
          {
            if (HAL_GPIO_ReadPin(EXI_S1_GPIO_Port, EXI_S1_Pin) == 0)    // If time presses the button not as long as that is to be kept
            {
              iEXIS1Prs [iSelEXI + 1] ++;                   // add time presses the button
            }
            else if (iEXIS1Prs [iSelEXI + 1] >= iKepEXI)         // If time presses the button as long as that is to be kept
            {
              EXIS1PrePrs [iSelEXI + 4] = 0;
              iEXIS1Prs [iSelEXI + 1] = 0;                   // to avoid run this if in next
              if (iSelEXI == 0)                         // if pin '0' -------->  M3
              {
                LowByte = Volt.Enc & 0xff;              // seperate Low Byte
                HighByte = (Volt.Enc & 0xff00) >> 8;            // seperate High Byte
                HAL_I2C_Mem_Write( &hi2c1, (0b1010000 << 1), LBVolM3Mem, I2C_MEMADD_SIZE_8BIT, &LowByte, I2C_MEMADD_SIZE_8BIT, 1000 );          // write Low Byte
                Delay();
                HAL_I2C_Mem_Write( &hi2c1, (0b1010000 << 1), HBVolM3Mem, I2C_MEMADD_SIZE_8BIT, &HighByte, I2C_MEMADD_SIZE_8BIT, 1000 );         // write High Byte
                Delay();

                LowByte = Curr.Enc & 0xff;              // seperate Low Byte
                HighByte = (Curr.Enc & 0xff00) >> 8;
                HAL_I2C_Mem_Write( &hi2c1, (0b1010000 << 1), LBCurM3Mem, I2C_MEMADD_SIZE_8BIT, &LowByte, I2C_MEMADD_SIZE_8BIT, 1000 );
                Delay();
                HAL_I2C_Mem_Write( &hi2c1, (0b1010000 << 1), HBCurM3Mem, I2C_MEMADD_SIZE_8BIT, &HighByte, I2C_MEMADD_SIZE_8BIT, 1000 );
              }
              else if (iSelEXI == 1)                    // if pin '1' -------->  M1
              {
                LowByte = Volt.Enc & 0xff;              // seperate Low Byte
                HighByte = (Volt.Enc & 0xff00) >> 8;
                HAL_I2C_Mem_Write( &hi2c1, (0b1010000 << 1), LBVolM1Mem, I2C_MEMADD_SIZE_8BIT, &LowByte, I2C_MEMADD_SIZE_8BIT, 1000 );
                Delay();
                HAL_I2C_Mem_Write( &hi2c1, (0b1010000 << 1), HBVolM1Mem, I2C_MEMADD_SIZE_8BIT, &HighByte, I2C_MEMADD_SIZE_8BIT, 1000 );
                Delay();

                LowByte = Curr.Enc & 0xff;              // seperate Low Byte
                HighByte = (Curr.Enc & 0xff00) >> 8;
                HAL_I2C_Mem_Write( &hi2c1, (0b1010000 << 1), LBCurM1Mem, I2C_MEMADD_SIZE_8BIT, &LowByte, I2C_MEMADD_SIZE_8BIT, 1000 );
                Delay();
                HAL_I2C_Mem_Write( &hi2c1, (0b1010000 << 1), HBCurM1Mem, I2C_MEMADD_SIZE_8BIT, &HighByte, I2C_MEMADD_SIZE_8BIT, 1000 );
              }
              else if (iSelEXI == 2)                    // if pin '2' -------->  M1
              {
                LowByte = Volt.Enc & 0xff;              // seperate Low Byte
                HighByte = (Volt.Enc & 0xff00) >> 8;
                HAL_I2C_Mem_Write( &hi2c1, (0b1010000 << 1), LBVolM2Mem, I2C_MEMADD_SIZE_8BIT, &LowByte, I2C_MEMADD_SIZE_8BIT, 1000 );
                Delay();
                HAL_I2C_Mem_Write( &hi2c1, (0b1010000 << 1), HBVolM2Mem, I2C_MEMADD_SIZE_8BIT, &HighByte, I2C_MEMADD_SIZE_8BIT, 1000 );
                Delay();

                LowByte = Curr.Enc & 0xff;              // seperate Low Byte
                HighByte = (Curr.Enc & 0xff00) >> 8;
                HAL_I2C_Mem_Write( &hi2c1, (0b1010000 << 1), LBCurM2Mem, I2C_MEMADD_SIZE_8BIT, &LowByte, I2C_MEMADD_SIZE_8BIT, 1000 );
                Delay();
                HAL_I2C_Mem_Write( &hi2c1, (0b1010000 << 1), HBCurM2Mem, I2C_MEMADD_SIZE_8BIT, &HighByte, I2C_MEMADD_SIZE_8BIT, 1000 );
              }
              else if (iSelEXI == 3)                    // if pin '3' -------->  M4
              {
                LowByte = Volt.Enc & 0xff;              // seperate Low Byte
                HighByte = (Volt.Enc & 0xff00) >> 8;
                HAL_I2C_Mem_Write( &hi2c1, (0b1010000 << 1), LBVolM4Mem, I2C_MEMADD_SIZE_8BIT, &LowByte, I2C_MEMADD_SIZE_8BIT, 1000 );
                Delay();
                HAL_I2C_Mem_Write( &hi2c1, (0b1010000 << 1), HBVolM4Mem, I2C_MEMADD_SIZE_8BIT, &HighByte, I2C_MEMADD_SIZE_8BIT, 1000 );
                Delay();

                LowByte = Curr.Enc & 0xff;                      // seperate Low Byte
                HighByte = (Curr.Enc & 0xff00) >> 8;
                HAL_I2C_Mem_Write( &hi2c1, (0b1010000 << 1), LBCurM4Mem, I2C_MEMADD_SIZE_8BIT, &LowByte, I2C_MEMADD_SIZE_8BIT, 1000 );
                Delay();
                HAL_I2C_Mem_Write( &hi2c1, (0b1010000 << 1), HBCurM4Mem, I2C_MEMADD_SIZE_8BIT, &HighByte, I2C_MEMADD_SIZE_8BIT, 1000 );
              }
            }
            else if ((iEXIS1Prs [iSelEXI + 1] >= iClkEXI) & (iEXIS1Prs [iSelEXI + 1] < iKepEXI))     // if time presses the button as long as that is to be clicked
            {
              EXIS1PrePrs [iSelEXI + 4] = 0;
              iEXIS1Prs [iSelEXI + 1] = 0;                   // to avoid run this if in next
              if (iSelEXI == 0)                                                         // if pin '0' -------->  M3
              {
                Volt.Mem = M3;
                LED_Data [LEDM1Num] = 0;
                LED_Data [LEDM2Num] = 0;
                LED_Data [LEDM3Num] = 1;
                LED_Data [LEDM4Num] = 0;

                HAL_I2C_Mem_Read( &hi2c1, (0b10100000), LBVolM3Mem, I2C_MEMADD_SIZE_8BIT,&cL,I2C_MEMADD_SIZE_8BIT,1000);
                HAL_I2C_Mem_Read( &hi2c1, (0b10100000), HBVolM3Mem, I2C_MEMADD_SIZE_8BIT,&cH,I2C_MEMADD_SIZE_8BIT,1000);
                Volt.Enc = cL | (cH << 8);
                __HAL_TIM_SET_COMPARE(&HTIM_PWM_VOL, TIM_CHANNEL_1, Volt.Enc / Volt.EncFactor);
                __HAL_TIM_SET_COUNTER(&HTIM_ENC_VOL, Volt.Enc);

                HAL_I2C_Mem_Read( &hi2c1, (0b10100000), LBCurM3Mem, I2C_MEMADD_SIZE_8BIT,&cL,I2C_MEMADD_SIZE_8BIT,1000);
                HAL_I2C_Mem_Read( &hi2c1, (0b10100000), HBCurM3Mem, I2C_MEMADD_SIZE_8BIT,&cH,I2C_MEMADD_SIZE_8BIT,1000);
                Curr.Enc = cL | (cH << 8);
                __HAL_TIM_SET_COMPARE(&HTIM_PWM_CURR, TIM_CHANNEL_1, Curr.Enc);
                __HAL_TIM_SET_COUNTER(&HTIM_ENC_CURR, Curr.Enc);
              }
              else if (iSelEXI == 1)                                                    // if pin '1' -------->  M1
              {
                Volt.Mem = M1;
                LED_Data [LEDM1Num] = 1;
                LED_Data [LEDM2Num] = 0;
                LED_Data [LEDM3Num] = 0;
                LED_Data [LEDM4Num] = 0;

                HAL_I2C_Mem_Read( &hi2c1, (0b10100000), LBVolM1Mem, I2C_MEMADD_SIZE_8BIT,&cL,I2C_MEMADD_SIZE_8BIT,1000);
                HAL_I2C_Mem_Read( &hi2c1, (0b10100000), HBVolM1Mem, I2C_MEMADD_SIZE_8BIT,&cH,I2C_MEMADD_SIZE_8BIT,1000);
                 Volt.Enc = cL | (cH << 8);
                __HAL_TIM_SET_COMPARE(&HTIM_PWM_VOL, TIM_CHANNEL_1, Volt.Enc / Volt.EncFactor);
                __HAL_TIM_SET_COUNTER(&HTIM_ENC_VOL, Volt.Enc);

                HAL_I2C_Mem_Read( &hi2c1, (0b10100000), LBCurM1Mem, I2C_MEMADD_SIZE_8BIT,&cL,I2C_MEMADD_SIZE_8BIT,1000);
                HAL_I2C_Mem_Read( &hi2c1, (0b10100000), HBCurM1Mem, I2C_MEMADD_SIZE_8BIT,&cH,I2C_MEMADD_SIZE_8BIT,1000);
                Curr.Enc = cL | (cH << 8);
                __HAL_TIM_SET_COMPARE(&HTIM_PWM_CURR, TIM_CHANNEL_1, Curr.Enc);
                __HAL_TIM_SET_COUNTER(&HTIM_ENC_CURR, Curr.Enc);
              }
              else if (iSelEXI == 2)                                                    // if pin '2' -------->  M1
              {
                Volt.Mem = M2;
                LED_Data [LEDM1Num] = 0;
                LED_Data [LEDM2Num] = 1;
                LED_Data [LEDM3Num] = 0;
                LED_Data [LEDM4Num] = 0;

                HAL_I2C_Mem_Read( &hi2c1, (0b10100000), LBVolM2Mem, I2C_MEMADD_SIZE_8BIT,&cL,I2C_MEMADD_SIZE_8BIT,1000);
                HAL_I2C_Mem_Read( &hi2c1, (0b10100000), HBVolM2Mem, I2C_MEMADD_SIZE_8BIT,&cH,I2C_MEMADD_SIZE_8BIT,1000);
                Volt.Enc = cL | (cH << 8);
                __HAL_TIM_SET_COMPARE(&HTIM_PWM_VOL, TIM_CHANNEL_1, Volt.Enc / Volt.EncFactor);
                __HAL_TIM_SET_COUNTER(&HTIM_ENC_VOL, Volt.Enc);

                HAL_I2C_Mem_Read( &hi2c1, (0b10100000), LBCurM2Mem, I2C_MEMADD_SIZE_8BIT,&cL,I2C_MEMADD_SIZE_8BIT,1000);
                HAL_I2C_Mem_Read( &hi2c1, (0b10100000), HBCurM2Mem, I2C_MEMADD_SIZE_8BIT,&cH,I2C_MEMADD_SIZE_8BIT,1000);
                Curr.Enc = cL | (cH << 8);
                __HAL_TIM_SET_COMPARE(&HTIM_PWM_CURR, TIM_CHANNEL_1, Curr.Enc);
                __HAL_TIM_SET_COUNTER(&HTIM_ENC_CURR, Curr.Enc);
              }
              else if (iSelEXI == 3)                                                    // if pin '3' -------->  M4
              {
                Volt.Mem = M4;
                LED_Data [LEDM1Num] = 0;
                LED_Data [LEDM2Num] = 0;
                LED_Data [LEDM3Num] = 0;
                LED_Data [LEDM4Num] = 1;

                HAL_I2C_Mem_Read( &hi2c1, (0b10100000), LBVolM4Mem, I2C_MEMADD_SIZE_8BIT,&cL,I2C_MEMADD_SIZE_8BIT,1000);
                HAL_I2C_Mem_Read( &hi2c1, (0b10100000), HBVolM4Mem, I2C_MEMADD_SIZE_8BIT,&cH,I2C_MEMADD_SIZE_8BIT,1000);
                Volt.Enc = cL | (cH << 8);
                __HAL_TIM_SET_COMPARE(&HTIM_PWM_VOL, TIM_CHANNEL_1, Volt.Enc / Volt.EncFactor);
                __HAL_TIM_SET_COUNTER(&HTIM_ENC_VOL, Volt.Enc);

                HAL_I2C_Mem_Read( &hi2c1, (0b10100000), LBCurM4Mem, I2C_MEMADD_SIZE_8BIT,&cL,I2C_MEMADD_SIZE_8BIT,1000);
                HAL_I2C_Mem_Read( &hi2c1, (0b10100000), HBCurM4Mem, I2C_MEMADD_SIZE_8BIT,&cH,I2C_MEMADD_SIZE_8BIT,1000);
                Curr.Enc = cL | (cH << 8);
                __HAL_TIM_SET_COMPARE(&HTIM_PWM_CURR, TIM_CHANNEL_1, Curr.Enc);
                __HAL_TIM_SET_COUNTER(&HTIM_ENC_CURR, Curr.Enc);
              }
            }
            else
            {
              EXIS1PrePrs [iSelEXI + 4] = 0;
            }
          }
          else
          {
            iEXIS1Prs [iSelEXI + 1] = 0;
          }

/*    S1
 *    end
 */

/*    S2
 *    start
 */

          if(EXIS2PrePrs [iSelEXI] == 1)                // when S2 pin pressed (in iSelEXI status )
          {
            if (HAL_GPIO_ReadPin(EXI_S2_GPIO_Port, EXI_S2_Pin) == 0)
            {
              iPrsEXIS2 [iSelEXI + 1] ++;                   // add time presses the button
            }
            else if (iPrsEXIS2 [iSelEXI + 1] >= iKepEXI)         // If time presses the button as long as that is to be kept
            {
              EXIS2PrePrs [iSelEXI] = 0;
              iPrsEXIS2 [iSelEXI + 1] = 0;                   // to avoid run this if in next
              if (iSelEXI == 0)                         // if pin '0' -------->  OVP
              {
                if (Volt.Status == OC)                  // if OVP enabled
                {
                  Volt.Status = Nor;                    // enable Normal
                  LED_Data [LEDOVPNum] = 0;             // OCV LED OFF
                  Volt.MaxVolt = VoltMAX;               // set MAX voltage
                }
                else if (Volt.Status == Nor)
                {
                  Volt.Status = OC;
                  LED_Data [LEDOVPNum] = 1;
                  Volt.MaxVolt = Volt.Enc;
                }
              }
              else if (iSelEXI == 1)                    // if pin '2' -------->  OCP
              {
                if (Curr.Status == OC)
                {
                  Curr.Status = Nor;
                  LED_Data [LEDOCPNum] = 0;
                  Curr.MaxVolt = VoltMAX;
                }
                else if (Curr.Status == Nor)
                {
                  Curr.Status = OC;
                  LED_Data [LEDOCPNum] = 1;
                  Curr.MaxVolt = Curr.Enc;
                }
              }
              else if (iSelEXI == 2)                    // if pin '1' -------->  SV
              {
                LED_Data [LEDLockNum] = ~LED_Data [LEDLockNum];
              }
              else if (iSelEXI == 3)                    // if pin '3' -------->  SI
              {

              }
            }
            else if ((iPrsEXIS2 [iSelEXI + 1] >= iClkEXI) & (iPrsEXIS2 [iSelEXI + 1] < iKepEXI))     // if time presses the button as long as that is to be clicked
            {
              EXIS2PrePrs [iSelEXI] = 0;
              iPrsEXIS2 [iSelEXI + 1] = 0;                   // to avoid run this if in next
              if (iSelEXI == 0)                         // if pin '0' -------->  OVP
              {

              }
              else if (iSelEXI == 1)                    // if pin '1' -------->  SV
              {
                if ((Volt.CountDisp > 0) & (Volt.Status == OC))                       // if it's still in display encoder
                {
                  __HAL_TIM_SET_COMPARE(&HTIM_PWM_VOL, TIM_CHANNEL_1, Volt.Enc / Volt.EncFactor);
                  Volt.CountDisp = 0;
                }
              }
              else if (iSelEXI == 2)                    // if pin '2' -------->  OCP
              {

              }
              else if (iSelEXI == 3)                    // if pin '3' -------->  SI
              {
                if ((Curr.CountDisp > 0) & (Curr.Status == OC))                       // if it's still in display encoder
                {
                  __HAL_TIM_SET_COMPARE(&HTIM_PWM_CURR, TIM_CHANNEL_1, Curr.Enc);
                  Curr.CountDisp = 0;
                }
              }
              else
              {
                EXIS2PrePrs [iSelEXI] = 0;
              }
            }
          }
          else
          {
            iPrsEXIS2 [iSelEXI + 1] = 0;                   // if time presses the button not as long as that is to be clicked or kept or not, reset it
          }

/*    S2
 *    end
 */

          if (iSelEXI >= 3)                             // change S pins
          {
            iSelEXI = 0;
            O_S1_GPIO_Port -> ODR = O_S1_GPIO_Port -> ODR & 0xF3FF;
          }
          else
          {
            iSelEXI ++;
            O_S1_GPIO_Port -> ODR = O_S1_GPIO_Port -> ODR + 1024;
          }

/******************************************************************************/

/*
 *
 *      Shift Data Register
 *
 */

          if (Volt.KDspnew != VoltBstKnew)
          {
            if (iMaxFIR > MaxFIR)
            {
              iMaxFIR = 0;
              Volt.KDspnew --;
              Volt.KDspold ++;
            }
            else
            {
              iMaxFIR ++;
            }
          }

          if (Curr.KDspnew != CurrBstKnew)
          {
            if (iMaxFIR > MaxFIR)
            {
              iMaxFIR = 0;
              Curr.KDspnew --;
              Curr.KDspold ++;
            }
            else
            {
              iMaxFIR ++;
            }
          }

          iLED ++;
          if (iLED >= 2 * LED_Num)
          {
            iLED = 0;
            HAL_GPIO_WritePin(O_RCK_GPIO_Port, O_RCK_Pin, GPIO_PIN_SET);
            while (HAL_GPIO_ReadPin(O_RCK_GPIO_Port, O_RCK_Pin) == 0);
            HAL_GPIO_WritePin(O_RCK_GPIO_Port, O_RCK_Pin, GPIO_PIN_RESET);

           /*******************************************************************
           *
           *      LED_Data buffer filling
           *
           *******************************************************************/

            if ((Volt.Status == Nor) | (Volt.CountDisp == 0))
            {
              int32_t TempDisp = (Volt.DispFactor1 * Volt.Volt + Volt.DispFactor0);
              if (TempDisp > 0)
                Volt.DispVolt = (Volt.KDspnew * TempDisp + Volt.KDspold * Volt.DispVolt) / 100;
              else
                Volt.DispVolt = 0;
              Mon4Seg(Volt.DispVolt, VolLoc);
              LED_Data [VolLoc + 15] = 1;              // Point
            }
            else if (Volt.CountDisp >= Disp3s)
            {
              Volt.DispEnc = Volt.Enc / 4;
              Mon4Seg(Volt.DispEnc, VolLoc);
              LED_Data [VolLoc + 15] = 1;              // Point
              Volt.CountDisp --;
            }
            else if (Volt.CountDisp > 0)
            {
              Volt.DispEnc = Volt.Enc / 4;
              Mon4Seg(Volt.DispEnc, VolLoc);
              LED_Data [VolLoc + 15] = 1;              // Point
              Volt.CountDisp --;
            }

//            if ((Curr.Status == Nor) | (Curr.CountDisp == 0))
            if (Curr.CountDisp == 0)
            {
//              Curr.TempDisp = (Curr.DispFactor1 * Curr.Volt + Curr.DispFactor0);
              if (Curr.TempDisp > 0)
                Curr.DispVolt = (Curr.KDspnew * Curr.TempDisp + Curr.KDspold * Curr.DispVolt) / 100;
              else
                Curr.DispVolt = 0;
              Mon4Seg(Curr.DispVolt, CurLoc);
              LED_Data [CurLoc + 7] = 1;              // Point
            }
            else if (Curr.CountDisp >= Disp3s)
            {
              Curr.DispEnc = Curr.Enc / 4;
//              Curr.MaxVolt = Curr.DispEnc;
              Mon4Seg (Curr.DispEnc, CurLoc);
              LED_Data [CurLoc + 7] = 1;              // Point
              Curr.CountDisp --;
            }
            else if (Curr.CountDisp > 0)
            {
              Curr.DispEnc = Curr.Enc / 4;
              Mon4Seg (Curr.DispEnc, CurLoc);
              LED_Data [CurLoc + 7] = 1;              // Point
              Curr.CountDisp --;
            }

            USBCurr.DispVolt = USBCurr.DispFactor1 * USBCurr.Volt + USBCurr.DispFactor0;
            Mon2Seg(USBCurr.DispVolt);

            /******************************************************************/
          }
          else
           {
            if (iLED % 2 == 0)
            {
              HAL_GPIO_WritePin(O_CLK_GPIO_Port, O_CLK_Pin, GPIO_PIN_RESET);
              HAL_GPIO_WritePin(O_SER_GPIO_Port, O_SER_Pin, LED_Data[(LED_Num - 1 - iLED / 2)]);
            }
            else
            {
              HAL_GPIO_WritePin(O_CLK_GPIO_Port, O_CLK_Pin, GPIO_PIN_SET);
            }
          }

/******************************************************************************/

          HAL_TIM_Base_Start_IT(htim);
	}
}

/**
  * @brief  Input Capture callback in non-blocking mode
  * @param  htim TIM IC handle
  * @retval None
  */
void HAL_TIM_IC_CaptureCallback (TIM_HandleTypeDef *htim)
{
//  ArrNumFIFO = 10;

  Volt.Mem = NoMem;
  LED_Data [LEDM1Num] = 0;
  LED_Data [LEDM2Num] = 0;
  LED_Data [LEDM3Num] = 0;
  LED_Data [LEDM4Num] = 0;

  if (htim == &HTIM_ENC_VOL)
  {
    Volt.Enc = __HAL_TIM_GET_COUNTER(htim);
    Volt.CountDisp = Disp3s;
    int16_t TempVoltEnc = Volt.Enc - Volt.OldEnc;

    if (TempVoltEnc > 30000)
    {
      Volt.Enc = 0;
      __HAL_TIM_SET_COUNTER(htim, 0);
    }
    else if (Volt.Enc > Volt.MaxVolt)
    {
      Volt.Enc = Volt.MaxVolt;
      __HAL_TIM_SET_COUNTER(htim, Volt.Enc);
    }

    if (Volt.Status == Nor)                       // if in normal mode set PWM directly
    {
      Volt.SP = Volt.Volt;
//      Volt.PWM = Volt.Enc / Volt.EncFactor;
//      __HAL_TIM_SET_COMPARE(&HTIM_PWM_VOL, TIM_CHANNEL_1, Volt.PWM);
      Volt.CountPID = 0;
    }
    Volt.KDspnew = MaxKnew;
    Volt.KDspold = MaxKold;
  }
  else if (htim == &HTIM_ENC_CURR)
  {
    Curr.Enc = __HAL_TIM_GET_COUNTER(htim);
//    Curr.CountDisp = Disp3s;

//    if ((Curr.Enc - Curr.OldEnc) > 30000)
//    {
//      Curr.Enc = 0;
//      __HAL_TIM_SET_COUNTER(htim, 0);
//    }
//    else if (Curr.Enc > Curr.MaxVolt)
//    {
//      Curr.Enc = Curr.MaxVolt;
//      __HAL_TIM_SET_COUNTER(htim, Curr.Enc);
//    }
//
//    if (Curr.Status == Nor)                       // if it's still in display encoder
//    {
//      Curr.PWM = Curr.Enc / Curr.EncFactor * 2;
//      __HAL_TIM_SET_COMPARE(&HTIM_PWM_CURR, TIM_CHANNEL_1, Curr.PWM);
//    }
    Curr.KDspnew = MaxKnew;
    Curr.KDspold = MaxKold;
  }
}

/**
  * @brief  Conversion complete callback in non blocking mode
  * @param  hadc ADC handle
  * @retval None
  */
void HAL_ADC_ConvCpltCallback(ADC_HandleTypeDef* hadc)
{
  uint32_t SumFIFO [3] = {0,0,0};
  ArrNumFIFO = MaxArrNumFIFO;

  for (uint8_t iFilADC = 0; iFilADC < 3; iFilADC ++)
  {
    for (uint16_t iFIFO = 0; iFIFO < ArrNumFIFO - 1; iFIFO ++)
    {
      AFIFO [iFilADC] [iFIFO] = AFIFO [iFilADC] [iFIFO + 1];
      SumFIFO [iFilADC] += AFIFO [iFilADC] [iFIFO];
    }
    AFIFO [iFilADC][ArrNumFIFO - 1] = AData [iFilADC];
    SumFIFO [iFilADC] += AFIFO [iFilADC][ArrNumFIFO - 1];
  }

  Volt.Volt = (100 * (SumFIFO [0] / ArrNumFIFO) + 0 * Volt.Volt) / 100;
  Curr.Volt = (100 * (SumFIFO [1]/ ArrNumFIFO) + 0 * Curr.Volt) / 100;
  USBCurr.Volt = (100 * (SumFIFO [2]/ ArrNumFIFO) + 0 * USBCurr.Volt) / 100;

    if (Volt.Status == OC)
    {
      if (Volt.Volt > Volt.MaxVolt)
      {
        LED_Data [RelOutNum] = 0;
        Volt.Out = 0;
      }
    }

    if (Curr.Status == OC)
    {
      if (AData [1] > Curr.MaxVolt)
      {
        LED_Data [RelOutNum] = 0;
        Volt.Out = 0;
      }
    }
}

/**
  * @brief  EXTI line detection callback.
  * @param  GPIO_Pin Specifies the port pin connected to corresponding EXTI line.
  * @retval None
  */
void HAL_GPIO_EXTI_Callback(uint16_t GPIO_Pin)
{
  uint8_t ireadRESET = 0;
  if (GPIO_Pin == EXI_S1_Pin)
  {
    for (uint8_t iread = 0; iread < MAXReadEXI; iread ++)                       // *************************************************
    {
      if (HAL_GPIO_ReadPin(EXI_S1_GPIO_Port, EXI_S1_Pin) == 0)                  // *
      {
        ireadRESET ++;                                                          // *
      }                                                                         // *                    Debouncing procedure
    }
    if (ireadRESET >= CorReadEXI)                                               // *
    {
      EXIS1PrePrs [iSelEXI + 4] = 1;                                            // *
    }                                                                           // *************************************************
  }
  else if (GPIO_Pin == EXI_S2_Pin)
  {
    for (uint8_t iread = 0; iread < MAXReadEXI; iread ++)
    {
      if (HAL_GPIO_ReadPin(EXI_S2_GPIO_Port, EXI_S2_Pin) == 0)
      {
        ireadRESET ++;
      }
    }
    if (ireadRESET >= CorReadEXI)
    {
      EXIS2PrePrs [iSelEXI] = 1;
    }
  }
  else if (GPIO_Pin == EXI_OUT_Pin)
  {
    for (uint8_t iread = 0; iread < MAXReadEXI; iread ++)
    {
      if (HAL_GPIO_ReadPin(EXI_OUT_GPIO_Port, EXI_OUT_Pin) == 0)
      {
        ireadRESET ++;
      }
    }
    if (ireadRESET >= CorReadEXI)
    {
      if (Volt.Out == 0)
      {
        LED_Data [RelOutNum] = 1;
        LED_Data [LEDOUTNum] = 1;
        Volt.Out = 1;
      }
      else
      {
        LED_Data [RelOutNum] = 0;
        LED_Data [LEDOUTNum] = 0;
        Volt.Out = 0;
      }
    }
  }
}

/* USER CODE END 4 */

void Error_Handler(void)
{
  __disable_irq();
  while (1)
  {
  }
}
